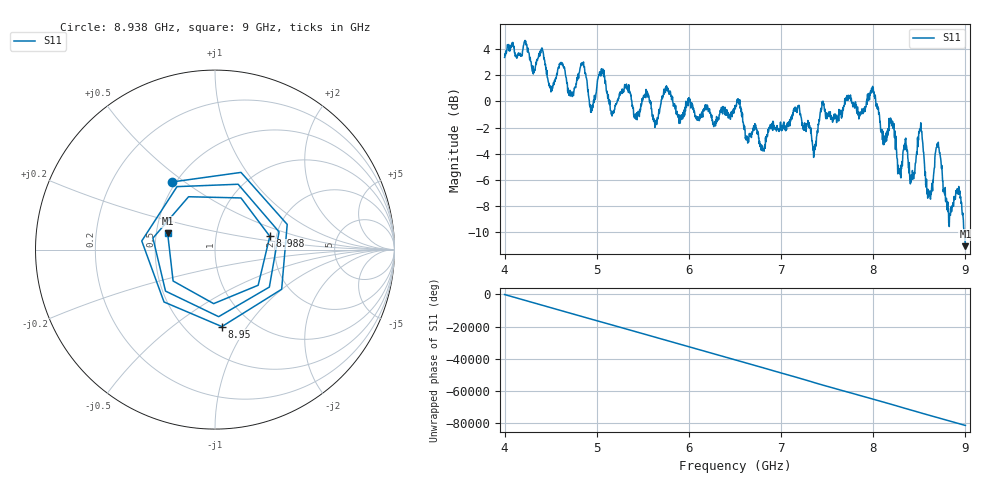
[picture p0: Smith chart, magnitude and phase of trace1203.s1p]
! Created with skrf 1.8.0 (http://scikit-rf.org).
# Hz S RI R 50.0
!freq ReS11 ImS11
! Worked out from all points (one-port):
!   1601 points, 4 GHz to 9 GHz, reference 50 ohm
!   lowest |S11| = -11.1 dB at 9 GHz (marker M1), VSWR 1.78, Z = 28.7 + j5.7 ohm
!   |S11| at or under -10 dB: 8.986996 GHz to end of sweep
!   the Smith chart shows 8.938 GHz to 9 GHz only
!   S11 on the Smith chart (normalised r, x): 8.938 GHz: 0.48, +0.45; 8.95 GHz: 0.73, -0.77; 8.988 GHz: 1.85, +0.30; 9 GHz: 0.57, +0.11
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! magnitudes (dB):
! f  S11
! 4 GHz  3.4
! 4.503 GHz  0.7
! 4.625 GHz  2.8
! 4.722 GHz  0.7
! 4.85 GHz  2.9
! 4.944 GHz  -0.5
! 5.044 GHz  1.9
! 5.169 GHz  -0.9
! 5.25 GHz  0.4
! 5.875 GHz  -1.1
! 6.5 GHz  -0.3
! 6.803 GHz  -3.6
! 7.125 GHz  -1.1
! 7.359 GHz  -4.1
! 7.447 GHz  0.0
! 7.75 GHz  0.3
! 7.997 GHz  1.0
! 8.281 GHz  -5.5
! 8.375 GHz  -4.3
! 8.425 GHz  -5.3
! 8.512 GHz  -2.1
! 8.606 GHz  -7.2
! 8.697 GHz  -3.4
! 8.812 GHz  -8.4
! 8.938 GHz  -7.0
! 8.95 GHz  -7.3
! 8.988 GHz  -10.1
! 9 GHz  -11.1
